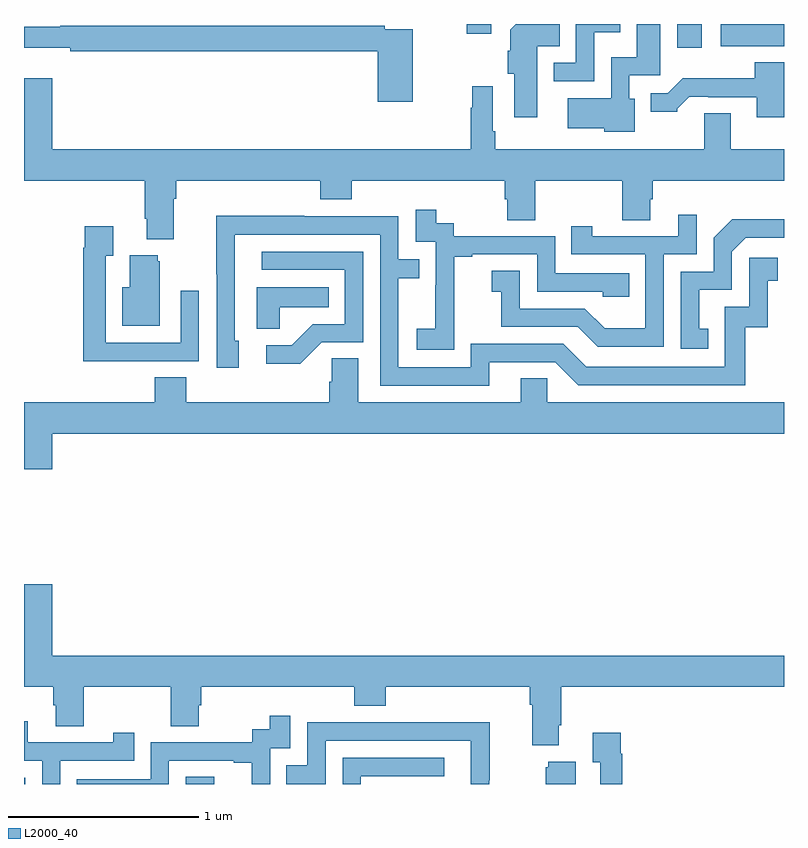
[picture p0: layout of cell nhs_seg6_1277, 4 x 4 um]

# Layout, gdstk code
import gdstk
lib = gdstk.Library(unit=1e-6, precision=1e-09)
def R(c, l, rs):  # rectangles x0, y0, x1, y1
    for r in rs: c.add(gdstk.rectangle(r[:2], r[2:], *l))
def P(c, l, *ps):  # polygons
    for p in ps: c.add(gdstk.Polygon(p, *l))
L2000_40 = (2000, 40)

nhs_seg6_1277 = lib.new_cell('nhs_seg6_1277')
R(nhs_seg6_1277, L2000_40, [(189,937.5,189.006,937.533), (189.852,937.5,190,937.537), (192.437,941.376,192.568,941.5), (192.668,941.384,193,941.5), (191.329,941.448,191.458,941.5)])
P(nhs_seg6_1277, L2000_40, [(192.214,941.106),(192.186,941.106),(192.186,941.229),(192.349,941.229),(192.349,941.5),(192.224,941.5),(192.224,941.326),(192.09,941.326),(192.09,941.11),(191.862,941.11),(191.862,940.952),(192.054,940.952),(192.054,940.934),(192.214,940.934)],
  [(192,941.456),(192.139,941.456),(192.139,941.5),(191.904,941.5),(191.904,941.295),(191.787,941.295),(191.787,941.199),(192,941.199)],
  [(191.701,941.384),(191.819,941.384),(191.819,941.5),(191.588,941.5),(191.558,941.47),(191.558,941.36),(191.546,941.36),(191.546,941.238),(191.579,941.238),(191.579,941.01),(191.701,941.01)],
  [(191.045,941.472),(190.898,941.472),(190.898,941.492),(189.19,941.492),(189.19,941.485),(189,941.485),(189,941.375),(189.244,941.375),(189.244,941.356),(190.862,941.356),(190.862,941.091),(191.045,941.091)],
  [(193,941.299),(192.845,941.299),(192.845,941.215),(192.466,941.215),(192.387,941.136),(192.299,941.136),(192.299,941.039),(192.438,941.039),(192.438,941.054),(192.502,941.118),(192.601,941.118),(192.601,941.115),(192.857,941.115),(192.857,941.01),(193,941.01)],
  [(189.787,940.58),(189.8,940.58),(189.8,940.676),(190.559,940.676),(190.559,940.577),(190.724,940.577),(190.724,940.676),(191.531,940.676),(191.531,940.578),(191.543,940.578),(191.543,940.468),(191.691,940.468),(191.691,940.676),(192.148,940.676),(192.148,940.468),(192.295,940.468),(192.295,940.578),(192.308,940.578),(192.308,940.676),(193,940.676),(193,940.84),(192.721,940.84),(192.721,941.03),(192.581,941.03),(192.581,940.84),(191.479,940.84),(191.479,940.936),(191.466,940.936),(191.466,941.173),(191.358,941.173),(191.358,941.06),(191.35,941.06),(191.35,940.84),(189.148,940.84),(189.148,941.215),(189,941.215),(189,940.676),(189.635,940.676),(189.635,940.474),(189.647,940.474),(189.647,940.367),(189.787,940.367)],
  [(191.265,939.991),(191.264,939.991),(191.264,940.275),(191.359,940.275),(191.359,940.287),(191.7,940.287),(191.7,940.092),(192.045,940.092),(192.045,940.065),(192.185,940.065),(192.185,940.188),(191.796,940.188),(191.796,940.383),(191.262,940.383),(191.262,940.452),(191.17,940.452),(191.17,940.522),(191.061,940.522),(191.061,940.353),(191.166,940.353),(191.166,940.124),(191.165,940.124),(191.165,939.895),(191.067,939.895),(191.067,939.785),(191.265,939.785)],
  [(192.366,940.287),(192.54,940.287),(192.54,940.495),(192.443,940.495),(192.443,940.383),(191.992,940.383),(191.992,940.435),(191.881,940.435),(191.881,940.287),(192.27,940.287),(192.27,939.898),(192.056,939.898),(191.952,940.002),(191.61,940.002),(191.61,940.201),(191.463,940.201),(191.463,940.091),(191.512,940.091),(191.512,939.906),(191.915,939.906),(192.02,939.801),(192.366,939.801)],
  [(191.449,939.72),(191.796,939.72),(191.916,939.6),(192.796,939.6),(192.796,939.903),(192.914,939.903),(192.914,940.149),(192.967,940.149),(192.967,940.27),(192.816,940.27),(192.816,940.011),(192.687,940.011),(192.687,939.696),(191.958,939.696),(191.838,939.816),(191.352,939.816),(191.352,939.693),(190.971,939.693),(190.971,940.162),(191.081,940.162),(191.081,940.263),(190.971,940.263),(190.971,940.488),(190.475,940.488),(190.475,940.49),(190.012,940.49),(190.012,940.183),(190.014,940.183),(190.014,939.69),(190.129,939.69),(190.129,939.834),(190.11,939.834),(190.11,940.392),(190.875,940.392),(190.875,939.597),(191.449,939.597)],
  [(192.602,939.897),(192.553,939.897),(192.553,940.101),(192.726,940.101),(192.726,940.302),(192.798,940.374),(193,940.374),(193,940.472),(192.728,940.472),(192.63,940.374),(192.63,940.197),(192.456,940.197),(192.456,939.792),(192.602,939.792)],
  [(189.605,939.726),(189.921,939.726),(189.921,940.096),(189.825,940.096),(189.825,939.822),(189.429,939.822),(189.429,940.279),(189.469,940.279),(189.469,940.435),(189.321,940.435),(189.321,940.322),(189.313,940.322),(189.313,939.725),(189.605,939.725)],
  [(190.566,939.825),(190.785,939.825),(190.785,940.302),(190.251,940.302),(190.251,940.206),(190.689,940.206),(190.689,939.921),(190.52,939.921),(190.409,939.81),(190.275,939.81),(190.275,939.713),(190.453,939.713)],
  [(189.715,940.251),(189.704,940.251),(189.704,940.282),(189.557,940.282),(189.557,940.114),(189.518,940.114),(189.518,939.911),(189.715,939.911)],
  [(190.347,940.01),(190.604,940.01),(190.604,940.114),(190.226,940.114),(190.226,939.895),(190.347,939.895)],
  [(189.148,939.344),(193,939.344),(193,939.508),(191.754,939.508),(191.754,939.635),(191.615,939.635),(191.615,939.508),(190.759,939.508),(190.759,939.74),(190.62,939.74),(190.62,939.617),(190.607,939.617),(190.607,939.508),(189.854,939.508),(189.854,939.641),(189.689,939.641),(189.689,939.508),(189,939.508),(189,939.156),(189.148,939.156)],
  [(191.815,937.81),(191.828,937.81),(191.828,938.012),(193,938.012),(193,938.176),(189.148,938.176),(189.148,938.551),(189,938.551),(189,938.012),(189.155,938.012),(189.155,937.914),(189.167,937.914),(189.167,937.804),(189.315,937.804),(189.315,938.012),(189.772,938.012),(189.772,937.804),(189.919,937.804),(189.919,937.914),(189.932,937.914),(189.932,938.012),(190.739,938.012),(190.739,937.913),(190.904,937.913),(190.904,938.012),(191.663,938.012),(191.663,937.916),(191.675,937.916),(191.675,937.703),(191.815,937.703)],
  [(189.762,937.623),(190.103,937.623),(190.103,937.611),(190.199,937.611),(190.199,937.5),(190.296,937.5),(190.296,937.689),(190.401,937.689),(190.401,937.858),(190.293,937.858),(190.293,937.788),(190.2,937.788),(190.2,937.719),(189.666,937.719),(189.666,937.524),(189.277,937.524),(189.277,937.5),(189.762,937.5)],
  [(189.192,937.623),(189.581,937.623),(189.581,937.771),(189.47,937.771),(189.47,937.719),(189.019,937.719),(189.019,937.831),(189,937.831),(189,937.623),(189.096,937.623),(189.096,937.5),(189.192,937.5)],
  [(190.587,937.728),(191.352,937.728),(191.352,937.5),(191.448,937.5),(191.448,937.519),(191.451,937.519),(191.451,937.826),(190.987,937.826),(190.987,937.824),(190.491,937.824),(190.491,937.599),(190.381,937.599),(190.381,937.5),(190.587,937.5)],
  [(192.149,937.658),(192.142,937.658),(192.142,937.771),(191.993,937.771),(191.993,937.615),(192.033,937.615),(192.033,937.5),(192.149,937.5)],
  [(190.773,937.542),(191.212,937.542),(191.212,937.638),(190.677,937.638),(190.677,937.5),(190.773,937.5)],
  [(191.905,937.618),(191.759,937.618),(191.759,937.587),(191.747,937.587),(191.747,937.5),(191.905,937.5)])

lib.write_gds('nhs_seg6_1277.gds')
